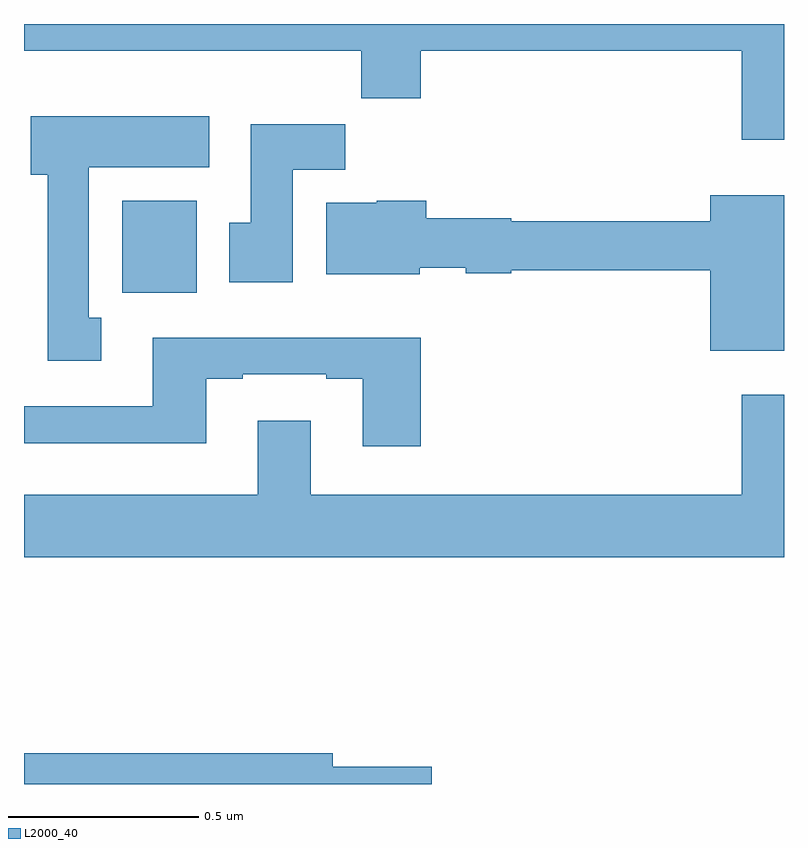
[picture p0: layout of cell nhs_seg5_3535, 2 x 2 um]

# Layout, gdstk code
import gdstk
lib = gdstk.Library(unit=1e-6, precision=1e-09)
def R(c, l, rs):  # rectangles x0, y0, x1, y1
    for r in rs: c.add(gdstk.rectangle(r[:2], r[2:], *l))
def P(c, l, *ps):  # polygons
    for p in ps: c.add(gdstk.Polygon(p, *l))
L2000_40 = (2000, 40)

nhs_seg5_3535 = lib.new_cell('nhs_seg5_3535')
R(nhs_seg5_3535, L2000_40, [(158.258,888.092,158.455,888.334)])
P(nhs_seg5_3535, L2000_40, [(160,888.799),(158,888.799),(158,888.728),(158.887,888.728),(158.887,888.604),(159.044,888.604),(159.044,888.728),(159.889,888.728),(159.889,888.495),(160,888.495)],
  [(158.203,888.026),(158.17,888.026),(158.17,888.422),(158.488,888.422),(158.488,888.556),(158.018,888.556),(158.018,888.402),(158.063,888.402),(158.063,887.913),(158.203,887.913)],
  [(158.707,888.416),(158.846,888.416),(158.846,888.535),(158.597,888.535),(158.597,888.276),(158.54,888.276),(158.54,888.12),(158.707,888.12)],
  [(160,888.349),(159.806,888.349),(159.806,888.28),(159.282,888.28),(159.282,888.288),(159.059,888.288),(159.059,888.334),(158.928,888.334),(158.928,888.328),(158.795,888.328),(158.795,888.14),(159.042,888.14),(159.042,888.158),(159.162,888.158),(159.162,888.143),(159.282,888.143),(159.282,888.151),(159.806,888.151),(159.806,887.939),(160,887.939)],
  [(159.044,887.974),(158.339,887.974),(158.339,887.793),(158,887.793),(158,887.696),(158.479,887.696),(158.479,887.865),(158.575,887.865),(158.575,887.877),(158.795,887.877),(158.795,887.865),(158.891,887.865),(158.891,887.688),(159.044,887.688)],
  [(160,887.824),(159.889,887.824),(159.889,887.56),(158.755,887.56),(158.755,887.755),(158.615,887.755),(158.615,887.56),(158,887.56),(158,887.396),(160,887.396)],
  [(159.073,886.844),(158.812,886.844),(158.812,886.88),(158,886.88),(158,886.799),(159.073,886.799)])

lib.write_gds('nhs_seg5_3535.gds')
